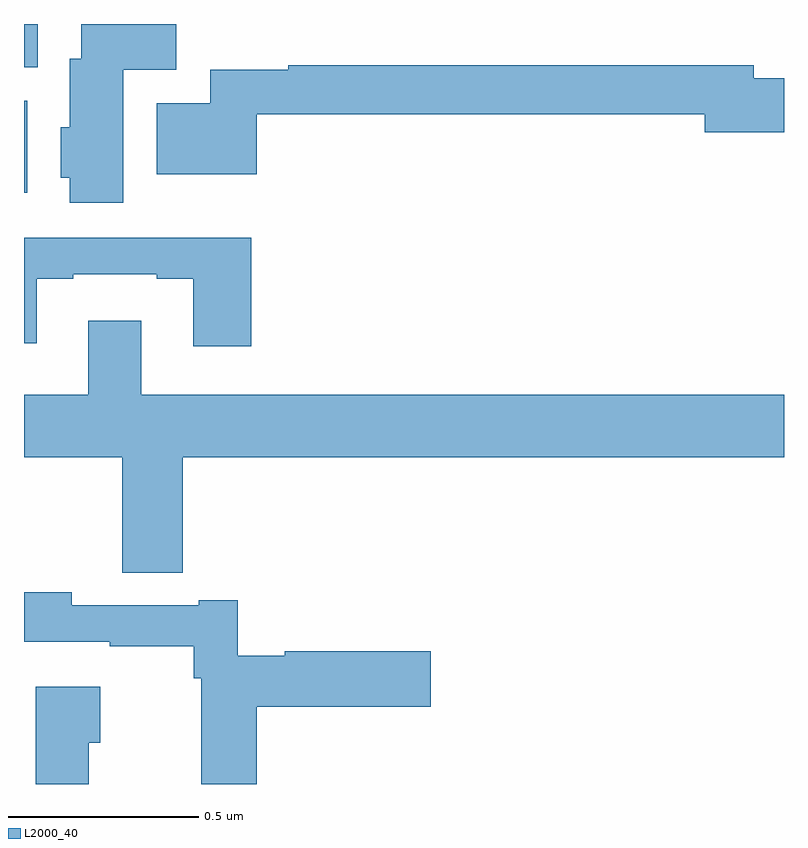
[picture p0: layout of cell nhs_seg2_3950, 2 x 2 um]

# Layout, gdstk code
import gdstk
lib = gdstk.Library(unit=1e-6, precision=1e-09)
def R(c, l, rs):  # rectangles x0, y0, x1, y1
    for r in rs: c.add(gdstk.rectangle(r[:2], r[2:], *l))
def P(c, l, *ps):  # polygons
    for p in ps: c.add(gdstk.Polygon(p, *l))
L2000_40 = (2000, 40)

nhs_seg2_3950 = lib.new_cell('nhs_seg2_3950')
R(nhs_seg2_3950, L2000_40, [(160,624.356,160.009,624.598), (160,624.686,160.036,624.8)])
P(nhs_seg2_3950, L2000_40, [(160.261,624.68),(160.4,624.68),(160.4,624.799),(160.151,624.799),(160.151,624.709),(160.121,624.709),(160.121,624.528),(160.097,624.528),(160.097,624.396),(160.121,624.396),(160.121,624.329),(160.261,624.329)],
  [(160.613,624.562),(161.792,624.562),(161.792,624.515),(162,624.515),(162,624.657),(161.92,624.657),(161.92,624.691),(160.696,624.691),(160.696,624.68),(160.49,624.68),(160.49,624.592),(160.349,624.592),(160.349,624.404),(160.613,624.404)],
  [(160.598,624.238),(160.353,624.238),(160.353,624.237),(160,624.237),(160,623.96),(160.033,623.96),(160.033,624.129),(160.129,624.129),(160.129,624.141),(160.349,624.141),(160.349,624.129),(160.445,624.129),(160.445,623.952),(160.598,623.952)],
  [(160.418,623.66),(162,623.66),(162,623.824),(160.309,623.824),(160.309,624.019),(160.169,624.019),(160.169,623.824),(160,623.824),(160,623.66),(160.258,623.66),(160.258,623.356),(160.418,623.356)],
  [(160.613,623.003),(161.071,623.003),(161.071,623.15),(160.686,623.15),(160.686,623.138),(160.563,623.138),(160.563,623.284),(160.46,623.284),(160.46,623.271),(160.125,623.271),(160.125,623.304),(160,623.304),(160,623.175),(160.225,623.175),(160.225,623.163),(160.447,623.163),(160.447,623.078),(160.466,623.078),(160.466,622.8),(160.613,622.8)],
  [(160.171,622.909),(160.201,622.909),(160.201,623.056),(160.031,623.056),(160.031,622.8),(160.171,622.8)])

lib.write_gds('nhs_seg2_3950.gds')
